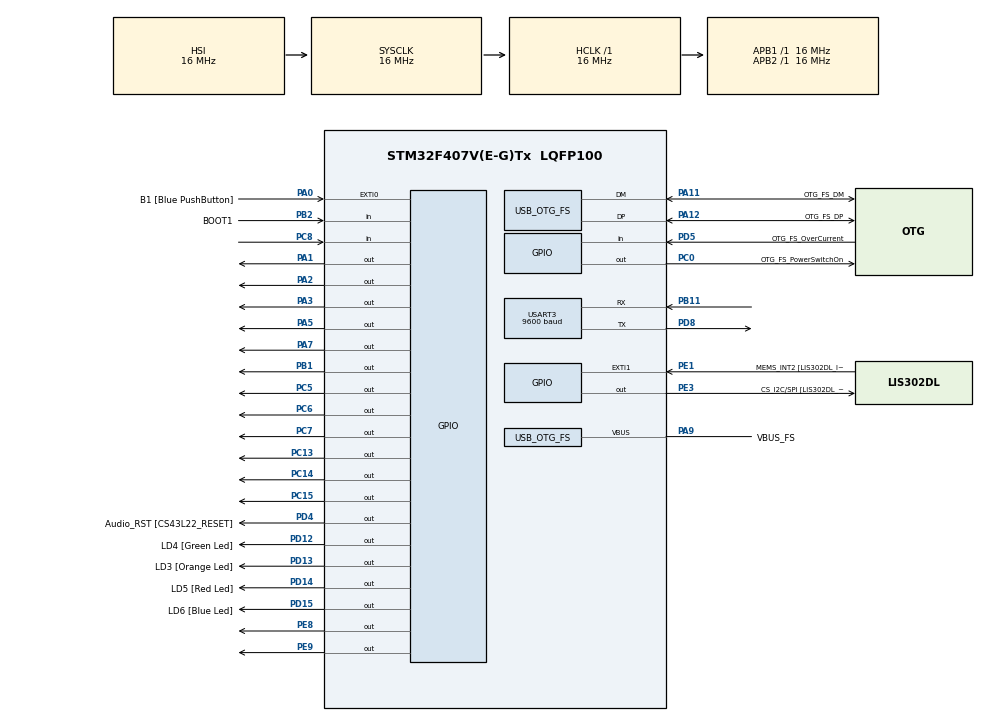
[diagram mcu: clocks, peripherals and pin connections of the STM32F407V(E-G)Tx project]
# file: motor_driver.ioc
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Dma.Request0=USART3_RX
Dma.USART3_RX.0.Direction=DMA_PERIPH_TO_MEMORY
Dma.USART3_RX.0.FIFOMode=DMA_FIFOMODE_DISABLE
Dma.USART3_RX.0.Instance=DMA1_Stream1
Dma.USART3_RX.0.MemDataAlignment=DMA_MDATAALIGN_BYTE
Dma.USART3_RX.0.MemInc=DMA_MINC_ENABLE
Dma.USART3_RX.0.Mode=DMA_CIRCULAR
Dma.USART3_RX.0.PeriphDataAlignment=DMA_PDATAALIGN_BYTE
Dma.USART3_RX.0.PeriphInc=DMA_PINC_DISABLE
Dma.USART3_RX.0.Priority=DMA_PRIORITY_LOW
Mcu.Family=STM32F4
Mcu.Name=STM32F407V(E-G)Tx
Mcu.Package=LQFP100
NVIC.DMA1_Stream1_IRQn=true\:0\:0\:false\:false\:true\:false\:true
NVIC.OTG_FS_IRQn=true\:0\:0\:false\:false\:true\:true\:true
NVIC.PriorityGroup=NVIC_PRIORITYGROUP_0
PA0-WKUP.GPIO_Label=B1 [Blue PushButton]
PA0-WKUP.GPIO_ModeDefaultEXTI=GPIO_MODE_EVT_RISING
PA0-WKUP.GPIO_PuPd=GPIO_NOPULL
PA0-WKUP.Signal=GPXTI0
PA1.Signal=GPIO_Output
PA10.GPIO_Label=OTG_FS_ID
PA10.GPIO_Mode=GPIO_MODE_AF_PP
PA10.GPIO_PuPd=GPIO_NOPULL
PA10.GPIO_Speed=GPIO_SPEED_FREQ_LOW
PA10.Signal=USB_OTG_FS_ID
PA11.GPIO_Label=OTG_FS_DM
PA11.GPIO_Mode=GPIO_MODE_AF_PP
PA11.GPIO_PuPd=GPIO_NOPULL
PA11.GPIO_Speed=GPIO_SPEED_FREQ_LOW
PA11.Mode=Host_Only
PA11.Signal=USB_OTG_FS_DM
PA12.GPIO_Label=OTG_FS_DP
PA12.GPIO_Mode=GPIO_MODE_AF_PP
PA12.GPIO_PuPd=GPIO_NOPULL
PA12.GPIO_Speed=GPIO_SPEED_FREQ_LOW
PA12.Mode=Host_Only
PA12.Signal=USB_OTG_FS_DP
PA13.GPIO_Label=SWDIO
PA13.Mode=Serial_Wire
PA13.Signal=SYS_JTMS-SWDIO
PA14.GPIO_Label=SWCLK
PA14.Mode=Serial_Wire
PA14.Signal=SYS_JTCK-SWCLK
PA2.Signal=GPIO_Output
PA3.Signal=GPIO_Output
PA4.GPIO_Label=I2S3_WS [CS43L22_LRCK]
PA4.GPIO_Mode=GPIO_MODE_AF_PP
PA4.GPIO_PuPd=GPIO_NOPULL
PA4.GPIO_Speed=GPIO_SPEED_FREQ_LOW
PA4.Signal=I2S3_WS
PA5.Signal=GPIO_Output
PA6.GPIO_Label=SPI1_MISO [LIS302DL_SDO]
PA6.GPIO_Mode=GPIO_MODE_AF_PP
PA6.GPIO_PuPd=GPIO_NOPULL
PA6.GPIO_Speed=GPIO_SPEED_FREQ_LOW
PA6.Signal=SPI1_MISO
PA7.Signal=GPIO_Output
PA9.GPIO_Label=VBUS_FS
PA9.GPIO_Mode=GPIO_MODE_INPUT
PA9.GPIO_PuPd=GPIO_NOPULL
PA9.Mode=Activate_VBUS
PA9.Signal=USB_OTG_FS_VBUS
PB1.Signal=GPIO_Output
PB10.GPIO_Label=CLK_IN [MP45DT02_CLK]
PB10.GPIO_Mode=GPIO_MODE_AF_PP
PB10.GPIO_PuPd=GPIO_NOPULL
PB10.GPIO_Speed=GPIO_SPEED_FREQ_LOW
PB10.Signal=I2S2_CK
PB11.Mode=Asynchronous
PB11.Signal=USART3_RX
PB2.GPIO_Label=BOOT1
PB2.GPIO_Mode=GPIO_MODE_INPUT
PB2.GPIO_PuPd=GPIO_NOPULL
PB2.Signal=GPIO_Input
PB3.GPIO_Label=SWO
PB3.Signal=SYS_JTDO-SWO
PB6.Signal=USART1_TX
PB9.GPIO_Label=Audio_SDA [CS43L22_SDA]
PB9.GPIO_Mode=GPIO_MODE_AF_OD
PB9.GPIO_Pu=GPIO_PULLUP
PB9.GPIO_PuPd=GPIO_NOPULL
PB9.GPIO_Speed=GPIO_SPEED_FREQ_LOW
PB9.Signal=I2C1_SDA
PC0.GPIO_Label=OTG_FS_PowerSwitchOn
PC0.GPIO_PuPd=GPIO_NOPULL
PC0.GPIO_Speed=GPIO_SPEED_FREQ_LOW
PC0.PinState=GPIO_PIN_SET
PC0.Signal=GPIO_Output
PC10.GPIO_Label=I2S3_SCK [CS43L22_SCLK]
PC10.GPIO_Mode=GPIO_MODE_AF_PP
PC10.GPIO_PuPd=GPIO_NOPULL
PC10.GPIO_Speed=GPIO_SPEED_FREQ_LOW
PC10.Signal=I2S3_CK
PC12.GPIO_Label=I2S3_SD [CS43L22_SDIN]
PC12.GPIO_Mode=GPIO_MODE_AF_PP
PC12.GPIO_PuPd=GPIO_NOPULL
PC12.GPIO_Speed=GPIO_SPEED_FREQ_LOW
PC12.Signal=I2S3_SD
PC13-ANTI_TAMP.Signal=GPIO_Output
PC14-OSC32_IN.Signal=GPIO_Output
PC15-OSC32_OUT.Signal=GPIO_Output
PC3.GPIO_Label=PDM_OUT [MP45DT02_DOUT]
PC3.GPIO_Mode=GPIO_MODE_AF_PP
PC3.GPIO_PuPd=GPIO_NOPULL
PC3.GPIO_Speed=GPIO_SPEED_FREQ_LOW
PC3.Signal=I2S2_SD
PC5.Signal=GPIO_Output
PC6.Signal=GPIO_Output
PC7.Signal=GPIO_Output
PC8.GPIO_PuPd=GPIO_PULLUP
PC8.Signal=GPIO_Input
PD12.GPIO_Label=LD4 [Green Led]
PD12.GPIO_PuPd=GPIO_NOPULL
PD12.GPIO_Speed=GPIO_SPEED_FREQ_LOW
PD12.Signal=GPIO_Output
PD13.GPIO_Label=LD3 [Orange Led]
PD13.GPIO_PuPd=GPIO_NOPULL
PD13.GPIO_Speed=GPIO_SPEED_FREQ_LOW
PD13.Signal=GPIO_Output
PD14.GPIO_Label=LD5 [Red Led]
PD14.GPIO_PuPd=GPIO_NOPULL
PD14.GPIO_Speed=GPIO_SPEED_FREQ_LOW
PD14.Signal=GPIO_Output
PD15.GPIO_Label=LD6 [Blue Led]
PD15.GPIO_PuPd=GPIO_NOPULL
PD15.GPIO_Speed=GPIO_SPEED_FREQ_LOW
PD15.Signal=GPIO_Output
PD4.GPIO_Label=Audio_RST [CS43L22_RESET]
PD4.GPIO_PuPd=GPIO_NOPULL
PD4.GPIO_Speed=GPIO_SPEED_FREQ_LOW
PD4.Signal=GPIO_Output
PD5.GPIO_Label=OTG_FS_OverCurrent
PD5.GPIO_Mode=GPIO_MODE_INPUT
PD5.GPIO_PuPd=GPIO_NOPULL
PD5.Signal=GPIO_Input
PD8.Mode=Asynchronous
PD8.Signal=USART3_TX
PE1.GPIO_Label=MEMS_INT2 [LIS302DL_INT2]
PE1.GPIO_ModeDefaultEXTI=GPIO_MODE_EVT_RISING
PE1.GPIO_PuPd=GPIO_NOPULL
PE1.Signal=GPXTI1
PE3.GPIO_Label=CS_I2C/SPI [LIS302DL_CS_I2C/SPI]
PE3.GPIO_PuPd=GPIO_NOPULL
PE3.GPIO_Speed=GPIO_SPEED_FREQ_LOW
PE3.Signal=GPIO_Output
PE8.Signal=GPIO_Output
PE9.Signal=GPIO_Output
PH0-OSC_IN.GPIO_Label=PH0-OSC_IN
PH0-OSC_IN.Mode=HSE-External-Oscillator
PH0-OSC_IN.Signal=RCC_OSC_IN
PH1-OSC_OUT.GPIO_Label=PH1-OSC_OUT
PH1-OSC_OUT.Mode=HSE-External-Oscillator
PH1-OSC_OUT.Signal=RCC_OSC_OUT
ProjectManager.HeapSize=0x200
ProjectManager.StackSize=0x400
ProjectManager.TargetToolchain=STM32CubeIDE
RCC.48MHZClocksFreq_Value=48000000
RCC.AHBFreq_Value=16000000
RCC.APB1Freq_Value=16000000
RCC.APB1TimFreq_Value=16000000
RCC.APB2Freq_Value=16000000
RCC.APB2TimFreq_Value=16000000
RCC.CortexFreq_Value=16000000
RCC.HCLKFreq_Value=16000000
RCC.HSE_VALUE=8000000
RCC.HSI_VALUE=16000000
RCC.LSE_VALUE=32768
RCC.PLLI2SN=50
RCC.PLLM=4
RCC.PLLN=168
RCC.PLLQ=7
RCC.SYSCLKFreq_VALUE=16000000
RCC.VCOOutputFreq_Value=336000000
TIM6.Prescaler=0
USART3.BaudRate=9600
USART3.VirtualMode=VM_ASYNC
USB_HOST.BSP.number=1
USB_HOST.USBH_HandleTypeDef-CDC_FS=hUsbHostFS
USB_HOST.VirtualModeFS=Cdc
USB_HOST0.BSP.STBoard=false
USB_HOST0.BSP.api=Unknown
USB_HOST0.BSP.i2caddr=0
USB_HOST0.BSP.i2creg=0
USB_HOST0.BSP.instance=PC0
USB_HOST0.BSP.ip=GPIO
USB_HOST0.BSP.mode=Output
USB_HOST0.BSP.name=Drive_VBUS_FS
USB_HOST0.BSP.solution=PC0
USB_OTG_FS.VirtualMode=Host_Only
USB_OTG_FS.phy_itface=HCD_PHY_EMBEDDED
VP_TIM6_VS_ClockSourceINT.Mode=Enable_Timer
VP_USB_HOST_VS_USB_HOST_CDC_FS.Mode=CDC_FS
board=STM32F407G-DISC1

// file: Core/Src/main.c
// Kellen Hartnett
// Adrian Lewis
// Connor Lowe
// Sahibjeet Singh
// Garrett Tashiro
// EE 475, Group 5 Capstone Project

/* USER CODE BEGIN Header */
/**
 ******************************************************************************
 * @file           : main.c
 * @brief          : Main program body
 ******************************************************************************
 * @attention
 *
 * Copyright (c) 2022 STMicroelectronics.
 * All rights reserved.
 *
 * This software is licensed under terms that can be found in the LICENSE file
 * in the root directory of this software component.
 * If no LICENSE file comes with this software, it is provided AS-IS.
 *
 ******************************************************************************
 */
/* USER CODE END Header */
#include "main.h"
#include "usb_host.h"

/* USER CODE BEGIN Includes */
#include "motor.h"
#include "board.h"
#include <string.h>
#include <math.h>
#include <stdio.h>
/* USER CODE END Includes */

TIM_HandleTypeDef htim6;

UART_HandleTypeDef huart3;
DMA_HandleTypeDef hdma_usart3_rx;

void SystemClock_Config(void);
static void MX_GPIO_Init(void);
static void MX_TIM6_Init(void);
static void MX_DMA_Init(void);
static void MX_USART3_UART_Init(void);
void MX_USB_HOST_Process(void);

/* USER CODE BEGIN 0 */

char messageBuffer[50];

/*
 * Waits to receive message from UART. Blocking, waits until a '\n' char is read
 */
void getMessage(char* buffer){
	char incomingChar;
	strcpy(buffer, "");
	while (incomingChar != '\n') {
		HAL_UART_Receive(&huart3, (uint8_t*) &incomingChar, 1, 10);
		if(incomingChar != '\b'){
			strncat(buffer, &incomingChar,1);
		}
	}
}

/*
 * Prints a given message over UART. Blocking call, prints each char one at a time
 */
void printMessage(char* buffer){
	for(int i = 0; i<strlen(buffer); i++){
		HAL_UART_Transmit (&huart3, (uint8_t*) buffer+i, 1, 10);
		delayMicro(pow(2,10));
	}
	delayMicro(pow(2,15));

}

/*
 * Parse the incoming message and do the corresponding move
 */
void parse(char *buffer){
	char message[50];
	char* s;
	switch(buffer[0]){
		case 'h':
			setHomeZ();
			sprintf(message, "Home set\r\n");
			printMessage(message);
			break;
		case 'z':
			s = strtok(buffer, "=");
			s = strtok(NULL, "=");
			float z = atof(s);
			moveZAbsolute(z);

			sprintf(message, "Z is set to %s \r\n", s);
			printMessage(message);
			break;
		case 'm':
			sprintf(message, "Starting Move\r\n");
			printMessage(message);

			s = strtok(buffer, " ");
			s = strtok(NULL, ",");
			float x = atof(s);
			s = strtok(NULL, ",");
			float y = atof(s);
			moveXYAbsolute(x,y);

			sprintf(message, "Move Complete\r\n");
			printMessage(message);
			break;
		default:
			s = strtok(buffer,",/");
			while(s[0] != '$'){
				int pieceIndex = atoi(s);
				s = strtok(NULL, ",/");
				int startIndex = atoi(s);
				s = strtok(NULL, ",/");
				int endIndex = atoi(s);
				movePieceByIndex(startIndex, endIndex, pieceIndex);
				s = strtok(NULL,",/");
			}
			moveToStandbyPosition();
			sprintf(message, "Move Complete\r\n");
			printMessage(message);
	}
}

/* USER CODE END 0 */

int main(void)
{

  /* MCU Configuration--------------------------------------------------------*/

  /* Reset of all peripherals, Initializes the Flash interface and the Systick. */
  HAL_Init();

  /* Configure the system clock */
  SystemClock_Config();

  /* Initialize all configured peripherals */
  MX_GPIO_Init();
  MX_USB_HOST_Init();
  MX_TIM6_Init();
  MX_DMA_Init();
  MX_USART3_UART_Init();
  /* USER CODE BEGIN 2 */

  	// Initialize pins and timers
	initPins();

	// If not at standby height, move to standby height
	moveZAbsolute(TRAVEL_Z);

  /* USER CODE END 2 */

  /* Infinite loop */
	while (1) {
    MX_USB_HOST_Process();

    /* USER CODE BEGIN 3 */

    // Wait for command over UART
    getMessage(messageBuffer);

    // Parse and execute command
    parse(messageBuffer);

	}
  /* USER CODE END 3 */
}

void SystemClock_Config(void)
{
  RCC_OscInitTypeDef RCC_OscInitStruct = {0};
  RCC_ClkInitTypeDef RCC_ClkInitStruct = {0};

  /** Configure the main internal regulator output voltage
  */
  __HAL_RCC_PWR_CLK_ENABLE();
  __HAL_PWR_VOLTAGESCALING_CONFIG(PWR_REGULATOR_VOLTAGE_SCALE1);
  /** Initializes the RCC Oscillators according to the specified parameters
  * in the RCC_OscInitTypeDef structure.
  */
  RCC_OscInitStruct.OscillatorType = RCC_OSCILLATORTYPE_HSI|RCC_OSCILLATORTYPE_HSE;
  RCC_OscInitStruct.HSEState = RCC_HSE_ON;
  RCC_OscInitStruct.HSIState = RCC_HSI_ON;
  RCC_OscInitStruct.HSICalibrationValue = RCC_HSICALIBRATION_DEFAULT;
  RCC_OscInitStruct.PLL.PLLState = RCC_PLL_ON;
  RCC_OscInitStruct.PLL.PLLSource = RCC_PLLSOURCE_HSE;
  RCC_OscInitStruct.PLL.PLLM = 4;
  RCC_OscInitStruct.PLL.PLLN = 168;
  RCC_OscInitStruct.PLL.PLLP = RCC_PLLP_DIV2;
  RCC_OscInitStruct.PLL.PLLQ = 7;
  if (HAL_RCC_OscConfig(&RCC_OscInitStruct) != HAL_OK)
  {
    Error_Handler();
  }
  /** Initializes the CPU, AHB and APB buses clocks
  */
  RCC_ClkInitStruct.ClockType = RCC_CLOCKTYPE_HCLK|RCC_CLOCKTYPE_SYSCLK
                              |RCC_CLOCKTYPE_PCLK1|RCC_CLOCKTYPE_PCLK2;
  RCC_ClkInitStruct.SYSCLKSource = RCC_SYSCLKSOURCE_HSI;
  RCC_ClkInitStruct.AHBCLKDivider = RCC_SYSCLK_DIV1;
  RCC_ClkInitStruct.APB1CLKDivider = RCC_HCLK_DIV1;
  RCC_ClkInitStruct.APB2CLKDivider = RCC_HCLK_DIV1;

  if (HAL_RCC_ClockConfig(&RCC_ClkInitStruct, FLASH_LATENCY_0) != HAL_OK)
  {
    Error_Handler();
  }
}

static void MX_TIM6_Init(void)
{

  TIM_MasterConfigTypeDef sMasterConfig = {0};

  htim6.Instance = TIM6;
  htim6.Init.Prescaler = 0;
  htim6.Init.CounterMode = TIM_COUNTERMODE_UP;
  htim6.Init.Period = 65535;
  htim6.Init.AutoReloadPreload = TIM_AUTORELOAD_PRELOAD_DISABLE;
  if (HAL_TIM_Base_Init(&htim6) != HAL_OK)
  {
    Error_Handler();
  }
  sMasterConfig.MasterOutputTrigger = TIM_TRGO_RESET;
  sMasterConfig.MasterSlaveMode = TIM_MASTERSLAVEMODE_DISABLE;
  if (HAL_TIMEx_MasterConfigSynchronization(&htim6, &sMasterConfig) != HAL_OK)
  {
    Error_Handler();
  }

}

static void MX_USART3_UART_Init(void)
{

  huart3.Instance = USART3;
  huart3.Init.BaudRate = 9600;
  huart3.Init.WordLength = UART_WORDLENGTH_8B;
  huart3.Init.StopBits = UART_STOPBITS_1;
  huart3.Init.Parity = UART_PARITY_NONE;
  huart3.Init.Mode = UART_MODE_TX_RX;
  huart3.Init.HwFlowCtl = UART_HWCONTROL_NONE;
  huart3.Init.OverSampling = UART_OVERSAMPLING_16;
  if (HAL_UART_Init(&huart3) != HAL_OK)
  {
    Error_Handler();
  }

}

static void MX_DMA_Init(void)
{

  /* DMA controller clock enable */
  __HAL_RCC_DMA1_CLK_ENABLE();

  /* DMA interrupt init */
  /* DMA1_Stream1_IRQn interrupt configuration */
  HAL_NVIC_SetPriority(DMA1_Stream1_IRQn, 0, 0);
  HAL_NVIC_EnableIRQ(DMA1_Stream1_IRQn);

}

static void MX_GPIO_Init(void)
{
  GPIO_InitTypeDef GPIO_InitStruct = {0};

  /* GPIO Ports Clock Enable */
  __HAL_RCC_GPIOE_CLK_ENABLE();
  __HAL_RCC_GPIOC_CLK_ENABLE();
  __HAL_RCC_GPIOH_CLK_ENABLE();
  __HAL_RCC_GPIOA_CLK_ENABLE();
  __HAL_RCC_GPIOB_CLK_ENABLE();
  __HAL_RCC_GPIOD_CLK_ENABLE();

  /*Configure GPIO pin Output Level */
  HAL_GPIO_WritePin(GPIOE, CS_I2C_SPI_Pin|GPIO_PIN_8|GPIO_PIN_9, GPIO_PIN_RESET);

  /*Configure GPIO pin Output Level */
  HAL_GPIO_WritePin(GPIOC, GPIO_PIN_13|GPIO_PIN_14|GPIO_PIN_15|GPIO_PIN_5
                          |GPIO_PIN_6|GPIO_PIN_7, GPIO_PIN_RESET);

  /*Configure GPIO pin Output Level */
  HAL_GPIO_WritePin(OTG_FS_PowerSwitchOn_GPIO_Port, OTG_FS_PowerSwitchOn_Pin, GPIO_PIN_SET);

  /*Configure GPIO pin Output Level */
  HAL_GPIO_WritePin(GPIOA, GPIO_PIN_1|GPIO_PIN_2|GPIO_PIN_3|GPIO_PIN_5
                          |GPIO_PIN_7, GPIO_PIN_RESET);

  /*Configure GPIO pin Output Level */
  HAL_GPIO_WritePin(GPIOB, GPIO_PIN_1, GPIO_PIN_RESET);

  /*Configure GPIO pin Output Level */
  HAL_GPIO_WritePin(GPIOD, LD4_Pin|LD3_Pin|LD5_Pin|LD6_Pin
                          |Audio_RST_Pin, GPIO_PIN_RESET);

  /*Configure GPIO pins : CS_I2C_SPI_Pin PE8 PE9 */
  GPIO_InitStruct.Pin = CS_I2C_SPI_Pin|GPIO_PIN_8|GPIO_PIN_9;
  GPIO_InitStruct.Mode = GPIO_MODE_OUTPUT_PP;
  GPIO_InitStruct.Pull = GPIO_NOPULL;
  GPIO_InitStruct.Speed = GPIO_SPEED_FREQ_LOW;
  HAL_GPIO_Init(GPIOE, &GPIO_InitStruct);

  /*Configure GPIO pins : PC13 PC14 PC15 OTG_FS_PowerSwitchOn_Pin
                           PC5 PC6 PC7 */
  GPIO_InitStruct.Pin = GPIO_PIN_13|GPIO_PIN_14|GPIO_PIN_15|OTG_FS_PowerSwitchOn_Pin
                          |GPIO_PIN_5|GPIO_PIN_6|GPIO_PIN_7;
  GPIO_InitStruct.Mode = GPIO_MODE_OUTPUT_PP;
  GPIO_InitStruct.Pull = GPIO_NOPULL;
  GPIO_InitStruct.Speed = GPIO_SPEED_FREQ_LOW;
  HAL_GPIO_Init(GPIOC, &GPIO_InitStruct);

  /*Configure GPIO pin : PDM_OUT_Pin */
  GPIO_InitStruct.Pin = PDM_OUT_Pin;
  GPIO_InitStruct.Mode = GPIO_MODE_AF_PP;
  GPIO_InitStruct.Pull = GPIO_NOPULL;
  GPIO_InitStruct.Speed = GPIO_SPEED_FREQ_LOW;
  GPIO_InitStruct.Alternate = GPIO_AF5_SPI2;
  HAL_GPIO_Init(PDM_OUT_GPIO_Port, &GPIO_InitStruct);

  /*Configure GPIO pin : B1_Pin */
  GPIO_InitStruct.Pin = B1_Pin;
  GPIO_InitStruct.Mode = GPIO_MODE_EVT_RISING;
  GPIO_InitStruct.Pull = GPIO_NOPULL;
  HAL_GPIO_Init(B1_GPIO_Port, &GPIO_InitStruct);

  /*Configure GPIO pins : PA1 PA2 PA3 PA5
                           PA7 */
  GPIO_InitStruct.Pin = GPIO_PIN_1|GPIO_PIN_2|GPIO_PIN_3|GPIO_PIN_5
                          |GPIO_PIN_7;
  GPIO_InitStruct.Mode = GPIO_MODE_OUTPUT_PP;
  GPIO_InitStruct.Pull = GPIO_NOPULL;
  GPIO_InitStruct.Speed = GPIO_SPEED_FREQ_LOW;
  HAL_GPIO_Init(GPIOA, &GPIO_InitStruct);

  /*Configure GPIO pin : I2S3_WS_Pin */
  GPIO_InitStruct.Pin = I2S3_WS_Pin;
  GPIO_InitStruct.Mode = GPIO_MODE_AF_PP;
  GPIO_InitStruct.Pull = GPIO_NOPULL;
  GPIO_InitStruct.Speed = GPIO_SPEED_FREQ_LOW;
  GPIO_InitStruct.Alternate = GPIO_AF6_SPI3;
  HAL_GPIO_Init(I2S3_WS_GPIO_Port, &GPIO_InitStruct);

  /*Configure GPIO pin : SPI1_MISO_Pin */
  GPIO_InitStruct.Pin = SPI1_MISO_Pin;
  GPIO_InitStruct.Mode = GPIO_MODE_AF_PP;
  GPIO_InitStruct.Pull = GPIO_NOPULL;
  GPIO_InitStruct.Speed = GPIO_SPEED_FREQ_LOW;
  GPIO_InitStruct.Alternate = GPIO_AF5_SPI1;
  HAL_GPIO_Init(SPI1_MISO_GPIO_Port, &GPIO_InitStruct);

  /*Configure GPIO pin : PB1 */
  GPIO_InitStruct.Pin = GPIO_PIN_1;
  GPIO_InitStruct.Mode = GPIO_MODE_OUTPUT_PP;
  GPIO_InitStruct.Pull = GPIO_NOPULL;
  GPIO_InitStruct.Speed = GPIO_SPEED_FREQ_LOW;
  HAL_GPIO_Init(GPIOB, &GPIO_InitStruct);

  /*Configure GPIO pin : BOOT1_Pin */
  GPIO_InitStruct.Pin = BOOT1_Pin;
  GPIO_InitStruct.Mode = GPIO_MODE_INPUT;
  GPIO_InitStruct.Pull = GPIO_NOPULL;
  HAL_GPIO_Init(BOOT1_GPIO_Port, &GPIO_InitStruct);

  /*Configure GPIO pin : CLK_IN_Pin */
  GPIO_InitStruct.Pin = CLK_IN_Pin;
  GPIO_InitStruct.Mode = GPIO_MODE_AF_PP;
  GPIO_InitStruct.Pull = GPIO_NOPULL;
  GPIO_InitStruct.Speed = GPIO_SPEED_FREQ_LOW;
  GPIO_InitStruct.Alternate = GPIO_AF5_SPI2;
  HAL_GPIO_Init(CLK_IN_GPIO_Port, &GPIO_InitStruct);

  /*Configure GPIO pins : LD4_Pin LD3_Pin LD5_Pin LD6_Pin
                           Audio_RST_Pin */
  GPIO_InitStruct.Pin = LD4_Pin|LD3_Pin|LD5_Pin|LD6_Pin
                          |Audio_RST_Pin;
  GPIO_InitStruct.Mode = GPIO_MODE_OUTPUT_PP;
  GPIO_InitStruct.Pull = GPIO_NOPULL;
  GPIO_InitStruct.Speed = GPIO_SPEED_FREQ_LOW;
  HAL_GPIO_Init(GPIOD, &GPIO_InitStruct);

  /*Configure GPIO pin : PC8 */
  GPIO_InitStruct.Pin = GPIO_PIN_8;
  GPIO_InitStruct.Mode = GPIO_MODE_INPUT;
  GPIO_InitStruct.Pull = GPIO_PULLUP;
  HAL_GPIO_Init(GPIOC, &GPIO_InitStruct);

  /*Configure GPIO pins : I2S3_SCK_Pin I2S3_SD_Pin */
  GPIO_InitStruct.Pin = I2S3_SCK_Pin|I2S3_SD_Pin;
  GPIO_InitStruct.Mode = GPIO_MODE_AF_PP;
  GPIO_InitStruct.Pull = GPIO_NOPULL;
  GPIO_InitStruct.Speed = GPIO_SPEED_FREQ_LOW;
  GPIO_InitStruct.Alternate = GPIO_AF6_SPI3;
  HAL_GPIO_Init(GPIOC, &GPIO_InitStruct);

  /*Configure GPIO pin : OTG_FS_OverCurrent_Pin */
  GPIO_InitStruct.Pin = OTG_FS_OverCurrent_Pin;
  GPIO_InitStruct.Mode = GPIO_MODE_INPUT;
  GPIO_InitStruct.Pull = GPIO_NOPULL;
  HAL_GPIO_Init(OTG_FS_OverCurrent_GPIO_Port, &GPIO_InitStruct);

  /*Configure GPIO pin : PB6 */
  GPIO_InitStruct.Pin = GPIO_PIN_6;
  GPIO_InitStruct.Mode = GPIO_MODE_AF_PP;
  GPIO_InitStruct.Pull = GPIO_NOPULL;
  GPIO_InitStruct.Speed = GPIO_SPEED_FREQ_VERY_HIGH;
  GPIO_InitStruct.Alternate = GPIO_AF7_USART1;
  HAL_GPIO_Init(GPIOB, &GPIO_InitStruct);

  /*Configure GPIO pin : Audio_SDA_Pin */
  GPIO_InitStruct.Pin = Audio_SDA_Pin;
  GPIO_InitStruct.Mode = GPIO_MODE_AF_OD;
  GPIO_InitStruct.Pull = GPIO_PULLUP;
  GPIO_InitStruct.Speed = GPIO_SPEED_FREQ_LOW;
  GPIO_InitStruct.Alternate = GPIO_AF4_I2C1;
  HAL_GPIO_Init(Audio_SDA_GPIO_Port, &GPIO_InitStruct);

  /*Configure GPIO pin : MEMS_INT2_Pin */
  GPIO_InitStruct.Pin = MEMS_INT2_Pin;
  GPIO_InitStruct.Mode = GPIO_MODE_EVT_RISING;
  GPIO_InitStruct.Pull = GPIO_NOPULL;
  HAL_GPIO_Init(MEMS_INT2_GPIO_Port, &GPIO_InitStruct);

}

void Error_Handler(void)
{
	__disable_irq();
	while (1) {
	}
}
